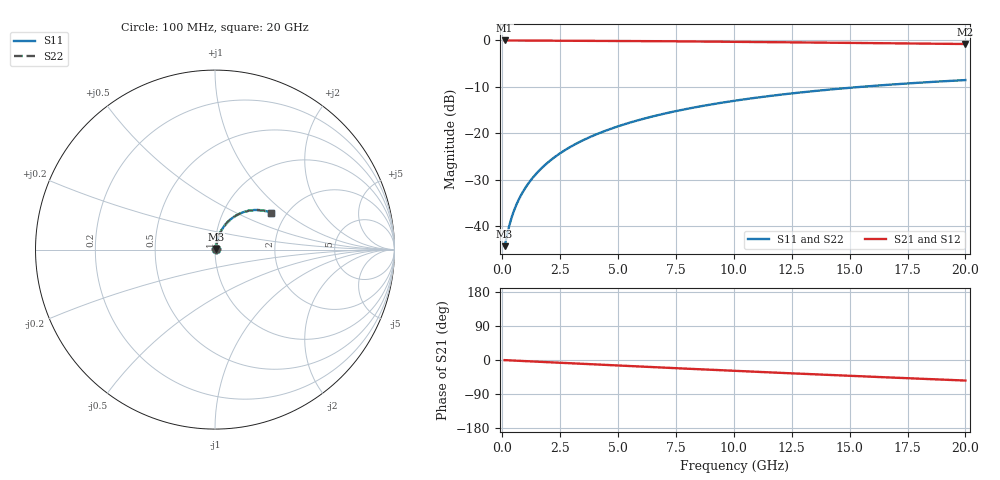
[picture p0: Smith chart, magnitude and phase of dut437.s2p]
! Touchstone file exported from HFSS 2026.1.0
!  File:  C:/ffzhzh/LocalFiles/Ansys_Project_Files/temp_train_BSMRDL_437_1783013029_46388.aedt
!  Generated:  01:25:23 AM Jul  3, 2026
!  Design:  BSMRDL
!  Project:  temp_train_BSMRDL_437_1783013029_46388
! Variables:
!  h_bsmrdl = 2.94um
!  h_ox = 20um
!  h_rdl = 5um
!  h_sub = 80um
!  h_tmrdl = 5um
!  h_tsv = 80um
!  h_via = 3um
!  l_bsmrdl = 883.47um
!  l_sub = 1283.47um
!  l_tmrdl = 200um
!  m_sub = 200um
!  pitch = 36.01um
!  r_tsv = 6um
!  s_tmrdl = 10um
!  w_bsmrdl = 20.25um
!  w_sub = 500um
!  w_tmrdl = 12um
!  x_tsv_center1 = 206um
!  x_tsv_center2 = 1109.72um
!  x_tsv_center3 = 1321.72um
!  x_tsv_center4 = 2225.44um
!  x_tsv_center5 = 2437.44um
!  x_tsv_center6 = 3341.16um
# GHz S MA R 50.000000
! Terminal data exported
! Port[1] = BSM_RDL1_1_T1
! Port[2] = BSM_RDL1_1_T2
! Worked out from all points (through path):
!   200 points, 100 MHz to 20 GHz, reference 50 ohm
!   highest |S21| = -0.05 dB at 100 MHz (marker M1); lowest = -0.8 dB at 20 GHz (marker M2)
!   group delay of S21, straight-line fit = 7.53 ps
!   lowest |S11| = -44.2 dB at 100 MHz (marker M3), VSWR 1.01, Z = 50.5 + j0.285 ohm
!   |S11| at or under -10 dB: start of sweep to 15.53 GHz
!   |S22| runs from -44.2 to -8.6 dB; largest |S21 - S12| = 4.2e-15
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0.1  0.006133 27.4  0.9946 -0.3  0.9946 -0.3  0.006133 27.4
! Gamma 0 0 0 0
! Port Impedance 50 0 50 0
0.3  0.01015 53.2  0.994 -0.9  0.994 -0.9  0.01015 53.2
0.4  0.0124 58.7  0.9937 -1.2  0.9937 -1.2  0.0124 58.7
0.5  0.01467 62.4  0.9935 -1.5  0.9935 -1.5  0.01467 62.4
0.6  0.01692 65.1  0.9932 -1.8  0.9932 -1.8  0.01692 65.1
0.8  0.02145 68.8  0.9929 -2.4  0.9929 -2.4  0.02145 68.8
1  0.02603 71.2  0.9926 -3.0  0.9926 -3.0  0.02603 71.2
1.2  0.03064 72.8  0.9923 -3.6  0.9923 -3.6  0.03064 72.7
1.4  0.03529 73.8  0.992 -4.1  0.992 -4.1  0.0353 73.8
1.7  0.04232 74.8  0.9916 -5.0  0.9916 -5.0  0.04232 74.8
2.2  0.05408 75.3  0.9908 -6.5  0.9908 -6.5  0.05408 75.3
2.8  0.06818 75.0  0.9897 -8.2  0.9897 -8.2  0.06819 75.0
3.5  0.08454 74.1  0.988 -10.2  0.988 -10.2  0.08455 74.0
4.2  0.1007 72.7  0.9861 -12.3  0.9861 -12.3  0.1007 72.7
5  0.1189 71.0  0.9836 -14.6  0.9836 -14.6  0.1189 70.9
5.9  0.139 68.8  0.9804 -17.1  0.9804 -17.1  0.139 68.8
6.8  0.1585 66.5  0.9768 -19.7  0.9768 -19.7  0.1585 66.5
8.3  0.1898 62.7  0.9702 -23.8  0.9702 -23.8  0.1898 62.6
10.1  0.2252 58.0  0.9614 -28.8  0.9614 -28.8  0.2252 57.9
13.4  0.2834 49.6  0.9443 -37.6  0.9443 -37.6  0.2835 49.5
16.7  0.3328 41.4  0.9271 -46.0  0.9271 -46.0  0.3329 41.2
20  0.3733 33.5  0.9111 -54.2  0.9111 -54.2  0.3734 33.3
